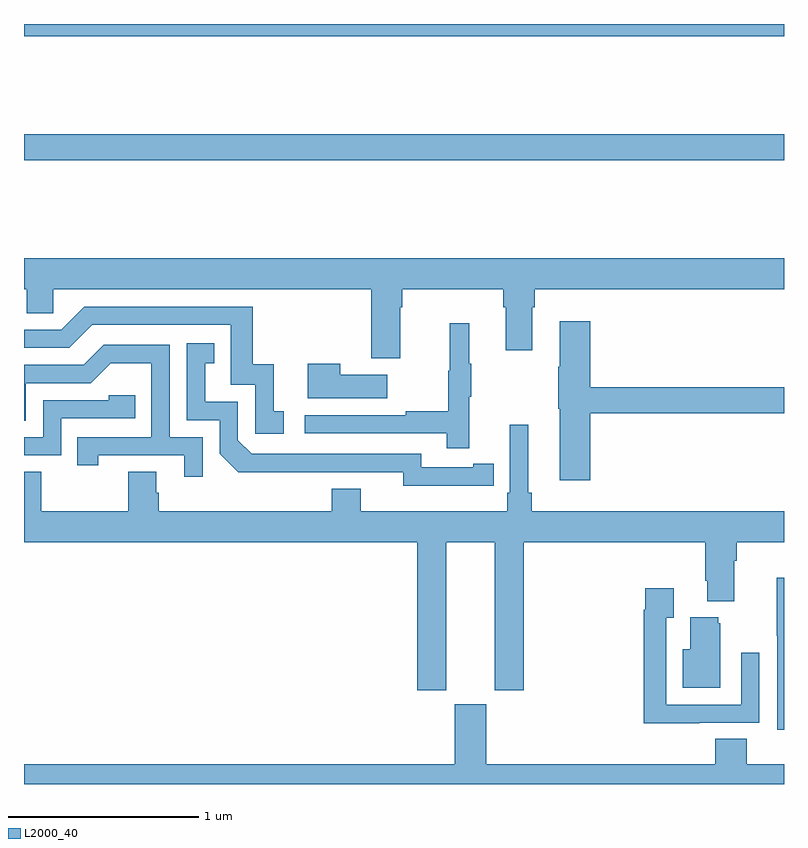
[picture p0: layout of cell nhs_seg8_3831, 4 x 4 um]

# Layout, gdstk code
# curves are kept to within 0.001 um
import gdstk
lib = gdstk.Library(unit=1e-6, precision=1e-09)
def R(c, l, rs):  # rectangles x0, y0, x1, y1
    for r in rs: c.add(gdstk.rectangle(r[:2], r[2:], *l))
def P(c, l, *ps):  # polygons
    for p in ps: c.add(gdstk.Polygon(p, *l))
L2000_40 = (2000, 40)

nhs_seg8_3831 = lib.new_cell('nhs_seg8_3831')
R(nhs_seg8_3831, L2000_40, [(347,1113.184,351,1113.32), (347,1113.836,351,1113.9)])
P(nhs_seg8_3831, L2000_40, [(348.979,1112.408),(348.992,1112.408),(348.992,1112.504),(349.523,1112.504),(349.523,1112.408),(349.535,1112.408),(349.535,1112.184),(349.675,1112.184),(349.675,1112.408),(349.688,1112.408),(349.688,1112.504),(351,1112.504),(351,1112.668),(347,1112.668),(347,1112.504),(347.015,1112.504),(347.015,1112.377),(347.154,1112.377),(347.154,1112.504),(348.827,1112.504),(348.827,1112.142),(348.979,1112.142)],
  [(348.367,1111.863),(348.314,1111.863),(348.314,1112.11),(348.203,1112.11),(348.203,1112.412),(347.316,1112.412),(347.196,1112.292),(347,1112.292),(347,1112.196),(347.238,1112.196),(347.358,1112.316),(348.087,1112.316),(348.087,1112.001),(348.216,1112.001),(348.216,1111.743),(348.367,1111.743)],
  [(349.979,1111.852),(351,1111.852),(351,1111.988),(349.979,1111.988),(349.979,1112.335),(349.82,1112.335),(349.82,1112.096),(349.813,1112.096),(349.813,1111.875),(349.82,1111.875),(349.82,1111.5),(349.979,1111.5)],
  [(349.343,1111.939),(349.354,1111.939),(349.354,1112.113),(349.343,1112.113),(349.343,1112.326),(349.24,1112.326),(349.24,1112.076),(349.233,1112.076),(349.233,1111.862),(349.009,1111.862),(349.009,1111.842),(348.477,1111.842),(348.477,1111.746),(349.225,1111.746),(349.225,1111.668),(349.343,1111.668)],
  [(349.364,1111.47),(349.472,1111.47),(349.472,1111.586),(349.364,1111.586),(349.364,1111.566),(349.092,1111.566),(349.092,1111.638),(348.198,1111.638),(348.126,1111.71),(348.126,1111.911),(347.953,1111.911),(347.953,1112.115),(348.002,1112.115),(348.002,1112.221),(347.856,1112.221),(347.856,1111.815),(348.03,1111.815),(348.03,1111.638),(348.128,1111.541),(348.996,1111.542),(348.996,1111.469)],
  [(347.94,1111.725),(347.766,1111.725),(347.766,1112.211),(347.42,1112.211),(347.315,1112.106),(347,1112.106),(347,1111.812),(347.01,1111.812),(347.01,1112.01),(347.352,1112.01),(347.456,1112.114),(347.67,1112.114),(347.67,1111.725),(347.281,1111.725),(347.281,1111.578),(347.392,1111.578),(347.392,1111.629),(347.843,1111.629),(347.843,1111.518),(347.94,1111.518)],
  [(348.913,1112.053),(348.665,1112.053),(348.665,1112.113),(348.494,1112.113),(348.494,1111.931),(348.913,1111.931)],
  [(347.196,1111.824),(347.585,1111.824),(347.585,1111.947),(347.445,1111.947),(347.445,1111.92),(347.1,1111.92),(347.1,1111.725),(347,1111.725),(347,1111.629),(347.196,1111.629)],
  [(349.222,1111.172),(349.478,1111.172),(349.478,1110.393),(349.631,1110.393),(349.631,1111.172),(350.585,1111.172),(350.585,1110.97),(350.597,1110.97),(350.597,1110.863),(350.737,1110.863),(350.737,1111.076),(350.75,1111.076),(350.75,1111.172),(351,1111.172),(351,1111.336),(349.673,1111.336),(349.673,1111.432),(349.654,1111.432),(349.654,1111.792),(349.557,1111.792),(349.557,1111.432),(349.544,1111.432),(349.544,1111.336),(348.772,1111.336),(348.772,1111.453),(348.62,1111.453),(348.62,1111.336),(347.708,1111.336),(347.708,1111.434),(347.695,1111.434),(347.695,1111.544),(347.548,1111.544),(347.548,1111.336),(347.091,1111.336),(347.091,1111.544),(347,1111.544),(347,1111.172),(349.07,1111.172),(349.07,1110.393),(349.222,1110.393)],
  [(351,1110.986),(350.962,1110.986),(350.962,1110.679),(350.964,1110.679),(350.964,1110.186),(351,1110.186)],
  [(350.555,1110.222),(350.871,1110.222),(350.871,1110.592),(350.775,1110.592),(350.775,1110.318),(350.379,1110.318),(350.379,1110.775),(350.419,1110.775),(350.419,1110.931),(350.271,1110.931),(350.271,1110.818),(350.263,1110.818),(350.263,1110.221),(350.555,1110.221)],
  [(350.665,1110.747),(350.654,1110.747),(350.654,1110.778),(350.507,1110.778),(350.507,1110.61),(350.468,1110.61),(350.468,1110.407),(350.665,1110.407)],
  [(351,1110.004),(350.804,1110.004),(350.804,1110.137),(350.639,1110.137),(350.639,1110.004),(349.432,1110.004),(349.432,1110.321),(349.268,1110.321),(349.268,1110.004),(347,1110.004),(347,1109.9),(351,1109.9)])

lib.write_gds('nhs_seg8_3831.gds')
